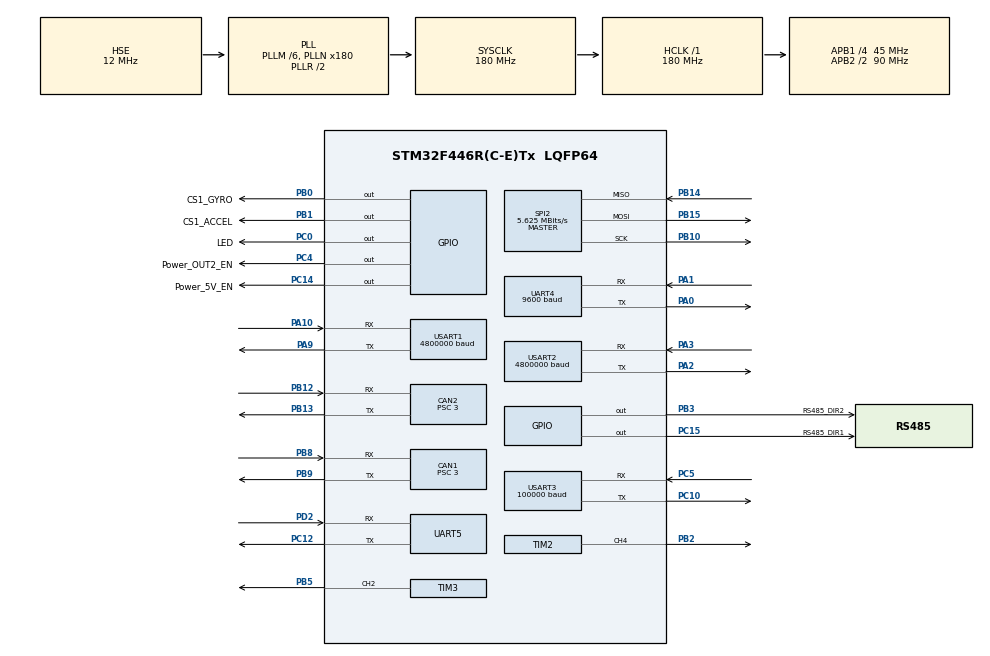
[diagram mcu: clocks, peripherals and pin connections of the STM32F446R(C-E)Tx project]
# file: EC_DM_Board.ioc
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CAN1.ABOM=DISABLE
CAN1.AWUM=DISABLE
CAN1.BS1=CAN_BS1_12TQ
CAN1.BS2=CAN_BS2_2TQ
CAN1.CalculateBaudRate=1000000
CAN1.CalculateTimeBit=1000
CAN1.CalculateTimeQuantum=66.66666666666666
CAN1.NART=DISABLE
CAN1.Prescaler=3
CAN1.TTCM=DISABLE
CAN1.TXFP=DISABLE
CAN2.ABOM=DISABLE
CAN2.AWUM=DISABLE
CAN2.BS1=CAN_BS1_12TQ
CAN2.BS2=CAN_BS2_2TQ
CAN2.CalculateBaudRate=1000000
CAN2.CalculateTimeBit=1000
CAN2.CalculateTimeQuantum=66.66666666666666
CAN2.NART=DISABLE
CAN2.Prescaler=3
CAN2.TTCM=DISABLE
CAN2.TXFP=DISABLE
Dma.Request0=USART3_RX
Dma.Request1=USART1_RX
Dma.Request2=USART2_RX
Dma.Request3=UART5_RX
Dma.Request4=UART5_TX
Dma.Request5=USART1_TX
Dma.Request6=USART2_TX
Dma.Request7=UART4_RX
Dma.Request8=UART4_TX
Dma.UART4_RX.7.Direction=DMA_PERIPH_TO_MEMORY
Dma.UART4_RX.7.FIFOMode=DMA_FIFOMODE_DISABLE
Dma.UART4_RX.7.Instance=DMA1_Stream2
Dma.UART4_RX.7.MemDataAlignment=DMA_MDATAALIGN_BYTE
Dma.UART4_RX.7.MemInc=DMA_MINC_ENABLE
Dma.UART4_RX.7.Mode=DMA_NORMAL
Dma.UART4_RX.7.PeriphDataAlignment=DMA_PDATAALIGN_BYTE
Dma.UART4_RX.7.PeriphInc=DMA_PINC_DISABLE
Dma.UART4_RX.7.Priority=DMA_PRIORITY_MEDIUM
Dma.UART4_TX.8.Direction=DMA_MEMORY_TO_PERIPH
Dma.UART4_TX.8.FIFOMode=DMA_FIFOMODE_DISABLE
Dma.UART4_TX.8.Instance=DMA1_Stream4
Dma.UART4_TX.8.MemDataAlignment=DMA_MDATAALIGN_BYTE
Dma.UART4_TX.8.MemInc=DMA_MINC_ENABLE
Dma.UART4_TX.8.Mode=DMA_NORMAL
Dma.UART4_TX.8.PeriphDataAlignment=DMA_PDATAALIGN_BYTE
Dma.UART4_TX.8.PeriphInc=DMA_PINC_DISABLE
Dma.UART4_TX.8.Priority=DMA_PRIORITY_MEDIUM
Dma.UART5_RX.3.Direction=DMA_PERIPH_TO_MEMORY
Dma.UART5_RX.3.FIFOMode=DMA_FIFOMODE_DISABLE
Dma.UART5_RX.3.Instance=DMA1_Stream0
Dma.UART5_RX.3.MemDataAlignment=DMA_MDATAALIGN_BYTE
Dma.UART5_RX.3.MemInc=DMA_MINC_ENABLE
Dma.UART5_RX.3.Mode=DMA_NORMAL
Dma.UART5_RX.3.PeriphDataAlignment=DMA_PDATAALIGN_BYTE
Dma.UART5_RX.3.PeriphInc=DMA_PINC_DISABLE
Dma.UART5_RX.3.Priority=DMA_PRIORITY_MEDIUM
Dma.UART5_TX.4.Direction=DMA_MEMORY_TO_PERIPH
Dma.UART5_TX.4.FIFOMode=DMA_FIFOMODE_DISABLE
Dma.UART5_TX.4.Instance=DMA1_Stream7
Dma.UART5_TX.4.MemDataAlignment=DMA_MDATAALIGN_BYTE
Dma.UART5_TX.4.MemInc=DMA_MINC_ENABLE
Dma.UART5_TX.4.Mode=DMA_NORMAL
Dma.UART5_TX.4.PeriphDataAlignment=DMA_PDATAALIGN_BYTE
Dma.UART5_TX.4.PeriphInc=DMA_PINC_DISABLE
Dma.UART5_TX.4.Priority=DMA_PRIORITY_MEDIUM
Dma.USART1_RX.1.Direction=DMA_PERIPH_TO_MEMORY
Dma.USART1_RX.1.FIFOMode=DMA_FIFOMODE_DISABLE
Dma.USART1_RX.1.Instance=DMA2_Stream2
Dma.USART1_RX.1.MemDataAlignment=DMA_MDATAALIGN_BYTE
Dma.USART1_RX.1.MemInc=DMA_MINC_ENABLE
Dma.USART1_RX.1.Mode=DMA_NORMAL
Dma.USART1_RX.1.PeriphDataAlignment=DMA_PDATAALIGN_BYTE
Dma.USART1_RX.1.PeriphInc=DMA_PINC_DISABLE
Dma.USART1_RX.1.Priority=DMA_PRIORITY_HIGH
Dma.USART1_TX.5.Direction=DMA_MEMORY_TO_PERIPH
Dma.USART1_TX.5.FIFOMode=DMA_FIFOMODE_DISABLE
Dma.USART1_TX.5.Instance=DMA2_Stream7
Dma.USART1_TX.5.MemDataAlignment=DMA_MDATAALIGN_BYTE
Dma.USART1_TX.5.MemInc=DMA_MINC_ENABLE
Dma.USART1_TX.5.Mode=DMA_NORMAL
Dma.USART1_TX.5.PeriphDataAlignment=DMA_PDATAALIGN_BYTE
Dma.USART1_TX.5.PeriphInc=DMA_PINC_DISABLE
Dma.USART1_TX.5.Priority=DMA_PRIORITY_HIGH
Dma.USART2_RX.2.Direction=DMA_PERIPH_TO_MEMORY
Dma.USART2_RX.2.FIFOMode=DMA_FIFOMODE_DISABLE
Dma.USART2_RX.2.Instance=DMA1_Stream5
Dma.USART2_RX.2.MemDataAlignment=DMA_MDATAALIGN_BYTE
Dma.USART2_RX.2.MemInc=DMA_MINC_ENABLE
Dma.USART2_RX.2.Mode=DMA_NORMAL
Dma.USART2_RX.2.PeriphDataAlignment=DMA_PDATAALIGN_BYTE
Dma.USART2_RX.2.PeriphInc=DMA_PINC_DISABLE
Dma.USART2_RX.2.Priority=DMA_PRIORITY_HIGH
Dma.USART2_TX.6.Direction=DMA_MEMORY_TO_PERIPH
Dma.USART2_TX.6.FIFOMode=DMA_FIFOMODE_DISABLE
Dma.USART2_TX.6.Instance=DMA1_Stream6
Dma.USART2_TX.6.MemDataAlignment=DMA_MDATAALIGN_BYTE
Dma.USART2_TX.6.MemInc=DMA_MINC_ENABLE
Dma.USART2_TX.6.Mode=DMA_NORMAL
Dma.USART2_TX.6.PeriphDataAlignment=DMA_PDATAALIGN_BYTE
Dma.USART2_TX.6.PeriphInc=DMA_PINC_DISABLE
Dma.USART2_TX.6.Priority=DMA_PRIORITY_HIGH
Dma.USART3_RX.0.Direction=DMA_PERIPH_TO_MEMORY
Dma.USART3_RX.0.FIFOMode=DMA_FIFOMODE_DISABLE
Dma.USART3_RX.0.Instance=DMA1_Stream1
Dma.USART3_RX.0.MemDataAlignment=DMA_MDATAALIGN_BYTE
Dma.USART3_RX.0.MemInc=DMA_MINC_ENABLE
Dma.USART3_RX.0.Mode=DMA_CIRCULAR
Dma.USART3_RX.0.PeriphDataAlignment=DMA_PDATAALIGN_BYTE
Dma.USART3_RX.0.PeriphInc=DMA_PINC_DISABLE
Dma.USART3_RX.0.Priority=DMA_PRIORITY_HIGH
FREERTOS.Tasks01=defaultTask,0,128,StartDefaultTask,Default,NULL,Dynamic,NULL,NULL;insTask,3,256,StartInsTask,Default,NULL,Dynamic,NULL,NULL;wheelMotorTask,2,128,StartWheelMotorTask,Default,NULL,Dynamic,NULL,NULL;chassisTask,1,128,StartChassisTask,Default,NULL,Dynamic,NULL,NULL;legMotorTask,3,128,StartLegMotorTask,Default,NULL,Dynamic,NULL,NULL;ctrlcommTask,0,128,StartCtrlCommTask,Default,NULL,Dynamic,NULL,NULL;capTask,1,128,StartCapTask,Default,NULL,Dynamic,NULL,NULL;refereecommTask,0,256,StartRefereeTask,Default,NULL,Dynamic,NULL,NULL
FREERTOS.configENABLE_FPU=1
FREERTOS.configTOTAL_HEAP_SIZE=15360
FREERTOS.configUSE_NEWLIB_REENTRANT=1
Mcu.Family=STM32F4
Mcu.Name=STM32F446R(C-E)Tx
Mcu.Package=LQFP64
NVIC.CAN1_RX0_IRQn=true\:5\:0\:true\:false\:true\:true\:true\:true\:true
NVIC.CAN2_RX0_IRQn=true\:5\:0\:true\:false\:true\:true\:true\:true\:true
NVIC.DMA1_Stream0_IRQn=true\:5\:0\:true\:false\:true\:true\:false\:true\:true
NVIC.DMA1_Stream1_IRQn=true\:5\:0\:true\:false\:true\:true\:false\:true\:true
NVIC.DMA1_Stream2_IRQn=true\:5\:0\:false\:false\:true\:true\:false\:true\:true
NVIC.DMA1_Stream4_IRQn=true\:5\:0\:false\:false\:true\:true\:false\:true\:true
NVIC.DMA1_Stream5_IRQn=true\:5\:0\:true\:false\:true\:true\:false\:true\:true
NVIC.DMA1_Stream6_IRQn=true\:5\:0\:false\:false\:true\:true\:false\:true\:true
NVIC.DMA1_Stream7_IRQn=true\:5\:0\:true\:false\:true\:true\:false\:true\:true
NVIC.DMA2_Stream2_IRQn=true\:5\:0\:true\:false\:true\:true\:false\:true\:true
NVIC.DMA2_Stream7_IRQn=true\:5\:0\:false\:false\:true\:true\:false\:true\:true
NVIC.PriorityGroup=NVIC_PRIORITYGROUP_4
NVIC.TIM8_TRG_COM_TIM14_IRQn=true\:15\:0\:false\:false\:true\:false\:false\:true\:true
NVIC.TimeBase=TIM8_TRG_COM_TIM14_IRQn
NVIC.TimeBaseIP=TIM14
NVIC.UART4_IRQn=true\:5\:0\:false\:false\:true\:true\:true\:true\:true
NVIC.UART5_IRQn=true\:5\:0\:true\:false\:true\:true\:true\:true\:true
NVIC.USART1_IRQn=true\:5\:0\:false\:false\:true\:true\:true\:true\:true
NVIC.USART2_IRQn=true\:5\:0\:false\:false\:true\:true\:true\:true\:true
NVIC.USART3_IRQn=true\:5\:0\:true\:false\:true\:true\:true\:true\:true
PA0-WKUP.Mode=Asynchronous
PA0-WKUP.Signal=UART4_TX
PA1.Mode=Asynchronous
PA1.Signal=UART4_RX
PA10.Mode=Asynchronous
PA10.Signal=USART1_RX
PA13.Mode=Serial_Wire
PA13.Signal=SYS_JTMS-SWDIO
PA14.Mode=Serial_Wire
PA14.Signal=SYS_JTCK-SWCLK
PA2.Mode=Asynchronous
PA2.Signal=USART2_TX
PA3.Mode=Asynchronous
PA3.Signal=USART2_RX
PA9.Mode=Asynchronous
PA9.Signal=USART1_TX
PB0.GPIO_Label=CS1_GYRO
PB0.GPIO_PuPd=GPIO_PULLUP
PB0.GPIO_Speed=GPIO_SPEED_FREQ_HIGH
PB0.PinState=GPIO_PIN_SET
PB0.Signal=GPIO_Output
PB1.GPIO_Label=CS1_ACCEL
PB1.GPIO_PuPd=GPIO_PULLUP
PB1.GPIO_Speed=GPIO_SPEED_FREQ_HIGH
PB1.PinState=GPIO_PIN_SET
PB1.Signal=GPIO_Output
PB10.Mode=Full_Duplex_Master
PB10.Signal=SPI2_SCK
PB12.GPIO_PuPd=GPIO_PULLUP
PB12.Mode=CAN_Activate
PB12.Signal=CAN2_RX
PB13.GPIO_PuPd=GPIO_PULLUP
PB13.Mode=CAN_Activate
PB13.Signal=CAN2_TX
PB14.Mode=Full_Duplex_Master
PB14.Signal=SPI2_MISO
PB15.Mode=Full_Duplex_Master
PB15.Signal=SPI2_MOSI
PB2.Signal=S_TIM2_CH4
PB3.GPIO_Label=RS485_DIR2
PB3.GPIO_PuPd=GPIO_PULLUP
PB3.Signal=GPIO_Output
PB5.Signal=S_TIM3_CH2
PB8.GPIO_PuPd=GPIO_PULLUP
PB8.Mode=CAN_Activate
PB8.Signal=CAN1_RX
PB9.GPIO_PuPd=GPIO_PULLUP
PB9.Mode=CAN_Activate
PB9.Signal=CAN1_TX
PC0.GPIO_Label=LED
PC0.GPIO_ModeDefaultOutputPP=GPIO_MODE_OUTPUT_PP
PC0.GPIO_PuPd=GPIO_PULLUP
PC0.PinState=GPIO_PIN_SET
PC0.Signal=GPIO_Output
PC10.Mode=Asynchronous
PC10.Signal=USART3_TX
PC12.Mode=Asynchronous
PC12.Signal=UART5_TX
PC14-OSC32_IN.GPIO_Label=Power_5V_EN
PC14-OSC32_IN.PinState=GPIO_PIN_SET
PC14-OSC32_IN.Signal=GPIO_Output
PC15-OSC32_OUT.GPIO_Label=RS485_DIR1
PC15-OSC32_OUT.GPIO_PuPd=GPIO_PULLUP
PC15-OSC32_OUT.Signal=GPIO_Output
PC4.GPIO_Label=Power_OUT2_EN
PC4.PinState=GPIO_PIN_SET
PC4.Signal=GPIO_Output
PC5.Mode=Asynchronous
PC5.Signal=USART3_RX
PD2.Mode=Asynchronous
PD2.Signal=UART5_RX
PH0-OSC_IN.Mode=HSE-External-Oscillator
PH0-OSC_IN.Signal=RCC_OSC_IN
PH1-OSC_OUT.Mode=HSE-External-Oscillator
PH1-OSC_OUT.Signal=RCC_OSC_OUT
ProjectManager.HeapSize=0x4000
ProjectManager.StackSize=0x4000
ProjectManager.TargetToolchain=STM32CubeIDE
RCC.AHBFreq_Value=180000000
RCC.APB1CLKDivider=RCC_HCLK_DIV4
RCC.APB1Freq_Value=45000000
RCC.APB1TimFreq_Value=90000000
RCC.APB2CLKDivider=RCC_HCLK_DIV2
RCC.APB2Freq_Value=90000000
RCC.APB2TimFreq_Value=180000000
RCC.CortexFreq_Value=180000000
RCC.HCLKFreq_Value=180000000
RCC.HSE_VALUE=12000000
RCC.PLLM=6
RCC.PLLN=180
RCC.PLLQ=7
RCC.PLLSourceVirtual=RCC_PLLSOURCE_HSE
RCC.SYSCLKFreq_VALUE=180000000
RCC.SYSCLKSource=RCC_SYSCLKSOURCE_PLLRCLK
RCC.USBFreq_Value=51428571.428571425
RCC.VCOOutputFreq_Value=360000000
SH.S_TIM2_CH4.0=TIM2_CH4,PWM Generation4 CH4
SH.S_TIM3_CH2.0=TIM3_CH2,PWM Generation2 CH2
SPI2.BaudRatePrescaler=SPI_BAUDRATEPRESCALER_8
SPI2.CLKPhase=SPI_PHASE_2EDGE
SPI2.CLKPolarity=SPI_POLARITY_HIGH
SPI2.CalculateBaudRate=5.625 MBits/s
SPI2.Direction=SPI_DIRECTION_2LINES
SPI2.Mode=SPI_MODE_MASTER
SPI2.VirtualType=VM_MASTER
STMicroelectronics.X-CUBE-ALGOBUILD.1.3.0.LibraryCcDSPOoLibraryJjDSPOoLibrary=true
TIM2.AutoReloadPreload=TIM_AUTORELOAD_PRELOAD_ENABLE
TIM2.Channel-PWM\ Generation4\ CH4=TIM_CHANNEL_4
TIM2.Period=100
TIM2.Prescaler=900
TIM2.Pulse-PWM\ Generation4\ CH4=80
TIM3.Channel-PWM\ Generation2\ CH2=TIM_CHANNEL_2
TIM3.Period=2000-1
TIM3.Prescaler=84-1
UART4.BaudRate=9600
UART4.VirtualMode=Asynchronous
UART5.VirtualMode=Asynchronous
USART1.BaudRate=4800000
USART1.OverSampling=UART_OVERSAMPLING_16
USART1.VirtualMode=VM_ASYNC
USART2.BaudRate=4800000
USART2.OverSampling=UART_OVERSAMPLING_8
USART2.VirtualMode=VM_ASYNC
USART3.BaudRate=100000
USART3.Mode=MODE_RX
USART3.Parity=PARITY_EVEN
USART3.VirtualMode=VM_ASYNC
USART3.WordLength=WORDLENGTH_9B
VP_CRC_VS_CRC.Mode=CRC_Activate
VP_FREERTOS_VS_CMSIS_V1.Mode=CMSIS_V1
VP_STMicroelectronics.X-CUBE-ALGOBUILD_VS_DSPOoLibraryJjLibrary_1.3.0_1.3.0.Mode=DSPOoLibraryJjLibrary
VP_SYS_VS_tim14.Mode=TIM14
VP_TIM2_VS_ClockSourceINT.Mode=Internal
board=custom

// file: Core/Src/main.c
/* USER CODE BEGIN Header */
/**
 ******************************************************************************
 * @file           : main.c
 * @brief          : Main program body
 ******************************************************************************
 * @attention
 *
 * Copyright (c) 2023 STMicroelectronics.
 * All rights reserved.
 *
 * This software is licensed under terms that can be found in the LICENSE file
 * in the root directory of this software component.
 * If no LICENSE file comes with this software, it is provided AS-IS.
 *
 ******************************************************************************
 */
/* USER CODE END Header */
#include "main.h"
#include "cmsis_os.h"
#include "can.h"
#include "crc.h"
#include "dma.h"
#include "spi.h"
#include "tim.h"
#include "usart.h"
#include "gpio.h"

/* USER CODE BEGIN Includes */
#include "bmi088_driver.h"
#include "bsp_dwt.h"
#include "infantry_chassis.h"
/* USER CODE END Includes */

void SystemClock_Config(void);
void MX_FREERTOS_Init(void);

int main(void)
{

  /* MCU Configuration--------------------------------------------------------*/

  /* Reset of all peripherals, Initializes the Flash interface and the Systick. */
  HAL_Init();

  /* Configure the system clock */
  SystemClock_Config();

  /* Initialize all configured peripherals */
  MX_GPIO_Init();
  MX_DMA_Init();
  MX_USART1_UART_Init();
  MX_USART2_UART_Init();
  MX_TIM3_Init();
  MX_USART3_UART_Init();
  MX_SPI2_Init();
  MX_CAN1_Init();
  MX_CAN2_Init();
  MX_UART5_Init();
  MX_CRC_Init();
  MX_TIM2_Init();
  MX_UART4_Init();
  /* USER CODE BEGIN 2 */
  DWT_Init(180);
  // while (BMI088_init(&hspi2, 1) != BMI088_NO_ERROR)
  //   ;
  ChassisInit();
  /* USER CODE END 2 */

  /* Call init function for freertos objects (in cmsis_os2.c) */
  MX_FREERTOS_Init();

  /* Start scheduler */
  osKernelStart();

  /* We should never get here as control is now taken by the scheduler */

  /* Infinite loop */
  while (1) {

  }
}

void SystemClock_Config(void)
{
  RCC_OscInitTypeDef RCC_OscInitStruct = {0};
  RCC_ClkInitTypeDef RCC_ClkInitStruct = {0};

  /** Configure the main internal regulator output voltage
  */
  __HAL_RCC_PWR_CLK_ENABLE();
  __HAL_PWR_VOLTAGESCALING_CONFIG(PWR_REGULATOR_VOLTAGE_SCALE1);

  /** Initializes the RCC Oscillators according to the specified parameters
  * in the RCC_OscInitTypeDef structure.
  */
  RCC_OscInitStruct.OscillatorType = RCC_OSCILLATORTYPE_HSE;
  RCC_OscInitStruct.HSEState = RCC_HSE_ON;
  RCC_OscInitStruct.PLL.PLLState = RCC_PLL_ON;
  RCC_OscInitStruct.PLL.PLLSource = RCC_PLLSOURCE_HSE;
  RCC_OscInitStruct.PLL.PLLM = 6;
  RCC_OscInitStruct.PLL.PLLN = 180;
  RCC_OscInitStruct.PLL.PLLP = RCC_PLLP_DIV2;
  RCC_OscInitStruct.PLL.PLLQ = 7;
  RCC_OscInitStruct.PLL.PLLR = 2;
  if (HAL_RCC_OscConfig(&RCC_OscInitStruct) != HAL_OK)
  {
    Error_Handler();
  }

  /** Activate the Over-Drive mode
  */
  if (HAL_PWREx_EnableOverDrive() != HAL_OK)
  {
    Error_Handler();
  }

  /** Initializes the CPU, AHB and APB buses clocks
  */
  RCC_ClkInitStruct.ClockType = RCC_CLOCKTYPE_HCLK|RCC_CLOCKTYPE_SYSCLK
                              |RCC_CLOCKTYPE_PCLK1|RCC_CLOCKTYPE_PCLK2;
  RCC_ClkInitStruct.SYSCLKSource = RCC_SYSCLKSOURCE_PLLRCLK;
  RCC_ClkInitStruct.AHBCLKDivider = RCC_SYSCLK_DIV1;
  RCC_ClkInitStruct.APB1CLKDivider = RCC_HCLK_DIV4;
  RCC_ClkInitStruct.APB2CLKDivider = RCC_HCLK_DIV2;

  if (HAL_RCC_ClockConfig(&RCC_ClkInitStruct, FLASH_LATENCY_5) != HAL_OK)
  {
    Error_Handler();
  }
}

void HAL_TIM_PeriodElapsedCallback(TIM_HandleTypeDef *htim)
{
  if (htim->Instance == TIM14)
  {
    HAL_IncTick();
  }
}

void Error_Handler(void)
{
  __disable_irq();
  while (1) {
  }
}
#ifdef USE_FULL_ASSERT
/**
  * @brief  Reports the name of the source file and the source line number
  *         where the assert_param error has occurred.
  * @param  file: pointer to the source file name
  * @param  line: assert_param error line source number
  * @retval None
  */
void assert_failed(uint8_t *file, uint32_t line)
{
  /* USER CODE BEGIN 6 */
  /* User can add his own implementation to report the file name and line
     number, ex: printf("Wrong parameters value: file %s on line %d\r\n", file,
     line) */
  /* USER CODE END 6 */
}
#endif /* USE_FULL_ASSERT */

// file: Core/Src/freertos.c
/* USER CODE BEGIN Header */
/**
 ******************************************************************************
 * File Name          : freertos.c
 * Description        : Code for freertos applications
 ******************************************************************************
 * @attention
 *
 * Copyright (c) 2023 STMicroelectronics.
 * All rights reserved.
 *
 * This software is licensed under terms that can be found in the LICENSE file
 * in the root directory of this software component.
 * If no LICENSE file comes with this software, it is provided AS-IS.
 *
 ******************************************************************************
 */
/* USER CODE END Header */

#include "FreeRTOS.h"
#include "task.h"
#include "main.h"
#include "cmsis_os.h"

/* USER CODE BEGIN Includes */
#include "bsp_dwt.h"
#include "infantry_chassis.h"
#include "ins.h"
/* USER CODE END Includes */

osThreadId defaultTaskHandle;
osThreadId insTaskHandle;
osThreadId wheelMotorTaskHandle;
osThreadId chassisTaskHandle;
osThreadId legMotorTaskHandle;
osThreadId ctrlcommTaskHandle;
osThreadId capTaskHandle;
osThreadId refereecommTaskHandle;

void StartDefaultTask(void const * argument);
void StartInsTask(void const * argument);
void StartWheelMotorTask(void const * argument);
void StartChassisTask(void const * argument);
void StartLegMotorTask(void const * argument);
void StartCtrlCommTask(void const * argument);
void StartCapTask(void const * argument);
void StartRefereeTask(void const * argument);

void MX_FREERTOS_Init(void); /* (MISRA C 2004 rule 8.1) */

/* GetIdleTaskMemory prototype (linked to static allocation support) */
void vApplicationGetIdleTaskMemory( StaticTask_t **ppxIdleTaskTCBBuffer, StackType_t **ppxIdleTaskStackBuffer, uint32_t *pulIdleTaskStackSize );

/* USER CODE BEGIN GET_IDLE_TASK_MEMORY */
static StaticTask_t xIdleTaskTCBBuffer;
static StackType_t xIdleStack[configMINIMAL_STACK_SIZE];

void vApplicationGetIdleTaskMemory(StaticTask_t** ppxIdleTaskTCBBuffer,
                                   StackType_t** ppxIdleTaskStackBuffer,
                                   uint32_t* pulIdleTaskStackSize) {
  *ppxIdleTaskTCBBuffer = &xIdleTaskTCBBuffer;
  *ppxIdleTaskStackBuffer = &xIdleStack[0];
  *pulIdleTaskStackSize = configMINIMAL_STACK_SIZE;
  /* place for user code */
}
/* USER CODE END GET_IDLE_TASK_MEMORY */

void MX_FREERTOS_Init(void) {

  /* Create the thread(s) */
  /* definition and creation of defaultTask */
  osThreadDef(defaultTask, StartDefaultTask, osPriorityNormal, 0, 128);
  defaultTaskHandle = osThreadCreate(osThread(defaultTask), NULL);

  /* definition and creation of insTask */
  osThreadDef(insTask, StartInsTask, osPriorityRealtime, 0, 256);
  insTaskHandle = osThreadCreate(osThread(insTask), NULL);

  /* definition and creation of wheelMotorTask */
  osThreadDef(wheelMotorTask, StartWheelMotorTask, osPriorityHigh, 0, 128);
  wheelMotorTaskHandle = osThreadCreate(osThread(wheelMotorTask), NULL);

  /* definition and creation of chassisTask */
  osThreadDef(chassisTask, StartChassisTask, osPriorityAboveNormal, 0, 128);
  chassisTaskHandle = osThreadCreate(osThread(chassisTask), NULL);

  /* definition and creation of legMotorTask */
  osThreadDef(legMotorTask, StartLegMotorTask, osPriorityRealtime, 0, 128);
  legMotorTaskHandle = osThreadCreate(osThread(legMotorTask), NULL);

  /* definition and creation of ctrlcommTask */
  osThreadDef(ctrlcommTask, StartCtrlCommTask, osPriorityNormal, 0, 128);
  ctrlcommTaskHandle = osThreadCreate(osThread(ctrlcommTask), NULL);

  /* definition and creation of capTask */
  osThreadDef(capTask, StartCapTask, osPriorityAboveNormal, 0, 128);
  capTaskHandle = osThreadCreate(osThread(capTask), NULL);

  /* definition and creation of refereecommTask */
  osThreadDef(refereecommTask, StartRefereeTask, osPriorityNormal, 0, 256);
  refereecommTaskHandle = osThreadCreate(osThread(refereecommTask), NULL);

}

/* USER CODE BEGIN Header_StartDefaultTask */
/**
 * @brief 默认任务
 * @note 控制LED电平翻转
 */
/* USER CODE END Header_StartDefaultTask */
void StartDefaultTask(void const * argument)
{
  /* USER CODE BEGIN StartDefaultTask */
  /* Infinite loop */
  for (;;) {
    HAL_GPIO_TogglePin(LED_GPIO_Port, LED_Pin);
    osDelay(100);
  }
  /* USER CODE END StartDefaultTask */
}

void StartInsTask(void const * argument)
{
  /* USER CODE BEGIN StartInsTask */
  static float ins_start;
  static float ins_dt;
  INS_Init();
  /* Infinite loop */
  for (;;) {
    ins_start = DWT_GetTimeline_ms();
    INS_Task();
    ins_dt = DWT_GetTimeline_ms() - ins_start;
    osDelay(1);
  }
  /* USER CODE END StartInsTask */
}

void StartWheelMotorTask(void const * argument)
{
  /* USER CODE BEGIN StartWheelMotorTask */
  static float wheel_start;
  static float wheel_dt;

  /* Infinite loop */
  for (;;) {
    wheel_start = DWT_GetTimeline_ms();
    WheelMotorTask();
    wheel_dt = DWT_GetTimeline_ms() - wheel_start;
    osDelay(1);
  }
  /* USER CODE END StartWheelMotorTask */
}

void StartChassisTask(void const * argument)
{
  /* USER CODE BEGIN StartChassisTask */
  static float chassis_start;
  static float chassis_dt;

  /* Infinite loop */
  for (;;) {
    chassis_start = DWT_GetTimeline_ms();                 //更新时间
    ChassisCalcTask();
    chassis_dt = DWT_GetTimeline_ms() - chassis_start;    //获取控制频率
    osDelay(1);
  }
  /* USER CODE END StartChassisTask */
}

void StartLegMotorTask(void const * argument)
{
  /* USER CODE BEGIN StartLegMotorTask */
  static float leg_start;
  static float leg_dt;

  /* Infinite loop */
  for (;;) {
    leg_start = DWT_GetTimeline_ms();
    UnitreeMotorTask();
    leg_dt = DWT_GetTimeline_ms() - leg_start;
    osDelay(1);
  }
  /* USER CODE END StartLegMotorTask */
}

void StartCtrlCommTask(void const * argument)
{
  /* USER CODE BEGIN StartCtrlCommTask */
  static float ctrl_start;
  static float ctrl_dt;

  /* Infinite loop */
  for (;;) {
    ctrl_start = DWT_GetTimeline_ms();
    CtrlCommTask();
    ctrl_dt = DWT_GetTimeline_ms() - ctrl_start;
    osDelay(5);
  }
  /* USER CODE END StartCtrlCommTask */
}

void StartCapTask(void const * argument)
{
  /* USER CODE BEGIN StartCapTask */
  static float cap_start;
  static float cap_dt;

  /* Infinite loop */
  for(;;)
  {
    cap_start = DWT_GetTimeline_ms();
    CapTask();
    cap_dt = DWT_GetTimeline_ms() - cap_start;
    osDelay(10);
  }
  /* USER CODE END StartCapTask */
}

void StartRefereeTask(void const * argument)
{
  /* USER CODE BEGIN StartRefereeTask */
  /* Infinite loop */
  for(;;)
  {
    UITask();
  }
  /* USER CODE END StartRefereeTask */
}
